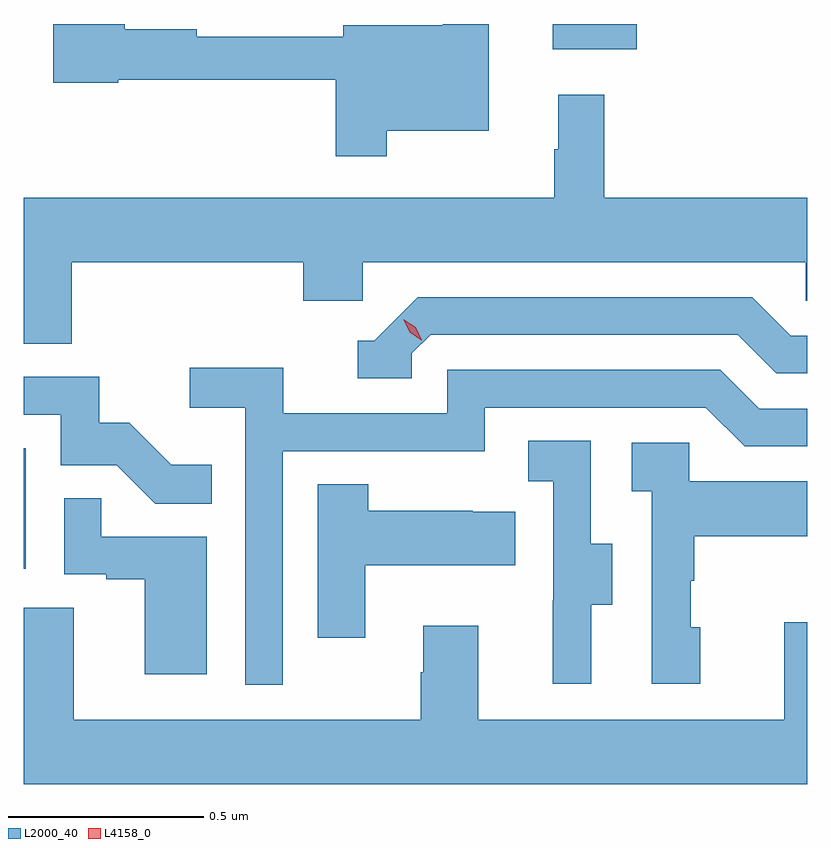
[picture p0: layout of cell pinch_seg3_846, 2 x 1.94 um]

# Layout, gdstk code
import gdstk
lib = gdstk.Library(unit=1e-6, precision=1e-09)
def R(c, l, rs):  # rectangles x0, y0, x1, y1
    for r in rs: c.add(gdstk.rectangle(r[:2], r[2:], *l))
def P(c, l, *ps):  # polygons
    for p in ps: c.add(gdstk.Polygon(p, *l))
L2000_40 = (2000, 40)
L4158_0 = (4158, 0)

pinch_seg3_846 = lib.new_cell('pinch_seg3_846')
R(pinch_seg3_846, L2000_40, [(839.471,716.118,839.476,716.425), (840.821,717.443,841.036,717.508)])
P(pinch_seg3_846, L2000_40, [(840.397,717.236),(840.658,717.236),(840.658,717.508),(840.541,717.508),(840.541,717.505),(840.287,717.505),(840.287,717.476),(839.912,717.476),(839.912,717.494),(839.729,717.494),(839.729,717.508),(839.546,717.508),(839.546,717.358),(839.712,717.358),(839.712,717.366),(840.268,717.366),(840.268,717.171),(840.397,717.171)],
  [(839.594,716.9),(840.185,716.9),(840.185,716.802),(840.336,716.802),(840.336,716.9),(841.467,716.9),(841.467,716.802),(841.471,716.802),(841.471,717.064),(840.953,717.064),(840.953,717.328),(840.836,717.328),(840.836,717.188),(840.825,717.188),(840.825,717.064),(839.471,717.064),(839.471,716.692),(839.594,716.692)],
  [(840.462,716.667),(840.51,716.715),(841.293,716.715),(841.392,716.616),(841.471,716.616),(841.471,716.712),(841.429,716.712),(841.33,716.811),(840.477,716.811),(840.366,716.7),(840.323,716.7),(840.323,716.604),(840.462,716.604)],
  [(840.132,716.418),(840.439,716.418),(840.439,716.417),(840.648,716.417),(840.648,716.529),(841.212,716.529),(841.311,716.43),(841.471,716.43),(841.471,716.526),(841.348,716.526),(841.249,716.625),(840.552,716.625),(840.552,716.514),(840.134,716.514),(840.134,716.63),(839.895,716.63),(839.895,716.528),(840.036,716.528),(840.036,715.821),(840.132,715.821)],
  [(839.951,716.383),(839.847,716.383),(839.74,716.49),(839.664,716.49),(839.664,716.607),(839.471,716.607),(839.471,716.511),(839.565,716.511),(839.565,716.382),(839.709,716.382),(839.807,716.284),(839.951,716.284)],
  [(840.919,716.026),(840.973,716.026),(840.973,716.181),(840.918,716.181),(840.918,716.444),(840.759,716.444),(840.759,716.341),(840.822,716.341),(840.822,716.037),(840.821,716.037),(840.821,715.824),(840.919,715.824)],
  [(841.198,715.968),(841.173,715.968),(841.173,716.087),(841.183,716.087),(841.183,716.201),(841.471,716.201),(841.471,716.341),(841.17,716.341),(841.17,716.439),(841.023,716.439),(841.023,716.315),(841.074,716.315),(841.074,715.824),(841.198,715.824)],
  [(840.343,716.126),(840.725,716.126),(840.725,716.263),(840.617,716.263),(840.617,716.266),(840.351,716.266),(840.351,716.333),(840.221,716.333),(840.221,715.941),(840.343,715.941)],
  [(839.938,716.199),(839.669,716.199),(839.669,716.297),(839.574,716.297),(839.574,716.103),(839.681,716.103),(839.681,716.091),(839.78,716.091),(839.78,715.848),(839.938,715.848)],
  [(841.471,715.981),(841.412,715.981),(841.412,715.732),(840.631,715.732),(840.631,715.972),(840.491,715.972),(840.491,715.853),(840.484,715.853),(840.484,715.732),(839.599,715.732),(839.599,716.018),(839.471,716.018),(839.471,715.568),(841.471,715.568)])
P(pinch_seg3_846, L4158_0, [(840.486,716.701),(840.456,716.721),(840.44,716.754),(840.44,716.754),(840.44,716.754),(840.471,716.734),(840.487,716.701),(840.487,716.701)])

lib.write_gds('pinch_seg3_846.gds')
